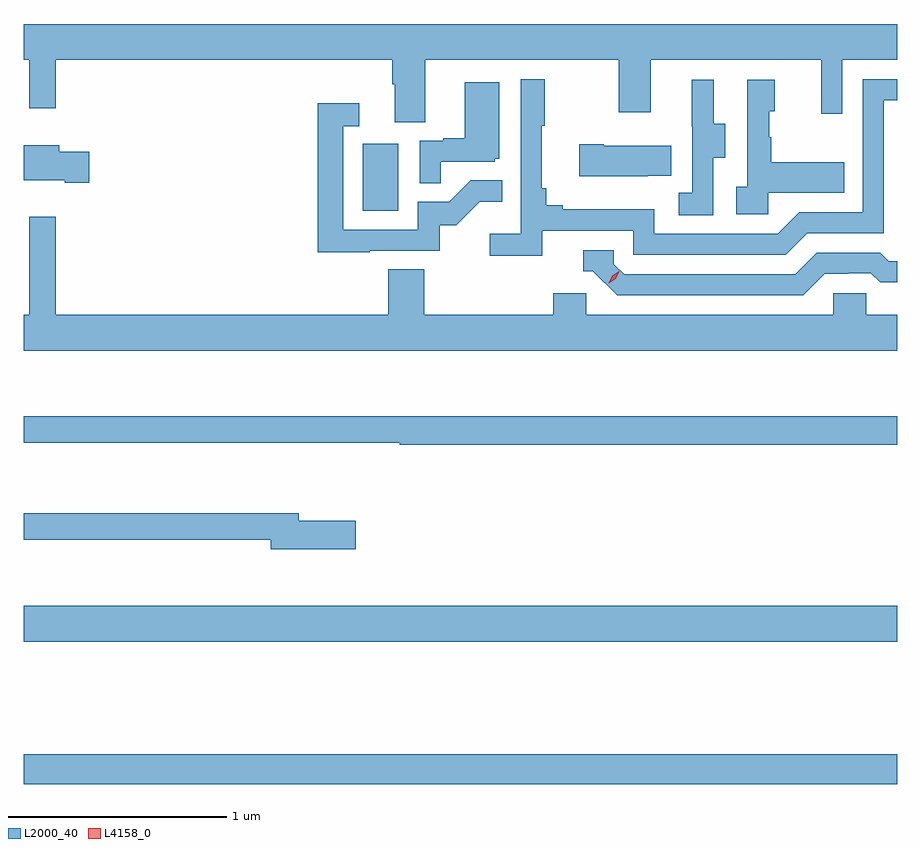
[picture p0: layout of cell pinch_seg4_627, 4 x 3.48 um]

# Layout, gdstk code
import gdstk
lib = gdstk.Library(unit=1e-6, precision=1e-09)
def R(c, l, rs):  # rectangles x0, y0, x1, y1
    for r in rs: c.add(gdstk.rectangle(r[:2], r[2:], *l))
def P(c, l, *ps):  # polygons
    for p in ps: c.add(gdstk.Polygon(p, *l))
L2000_40 = (2000, 40)
L4158_0 = (4158, 0)

pinch_seg4_627 = lib.new_cell('pinch_seg4_627')
R(pinch_seg4_627, L2000_40, [(1033.12,757.54,1037.12,757.676), (1033.12,758.192,1037.12,758.356), (1034.672,760.164,1034.836,760.471)])
P(pinch_seg4_627, L2000_40, [(1034.959,760.856),(1035.844,760.856),(1035.844,760.617),(1035.991,760.617),(1035.991,760.856),(1036.772,760.856),(1036.772,760.608),(1036.869,760.608),(1036.869,760.856),(1037.12,760.856),(1037.12,761.02),(1033.12,761.02),(1033.12,760.856),(1033.145,760.856),(1033.145,760.635),(1033.267,760.635),(1033.267,760.856),(1034.807,760.856),(1034.807,760.744),(1034.819,760.744),(1034.819,760.57),(1034.959,760.57)],
  [(1035.494,760.074),(1035.912,760.074),(1035.912,759.963),(1036.609,759.963),(1036.708,760.062),(1037.058,760.062),(1037.058,760.671),(1037.12,760.671),(1037.12,760.767),(1036.962,760.767),(1036.962,760.158),(1036.671,760.158),(1036.572,760.059),(1036.008,760.059),(1036.008,760.171),(1035.589,760.171),(1035.589,760.19),(1035.512,760.19),(1035.512,760.267),(1035.493,760.267),(1035.493,760.555),(1035.505,760.555),(1035.505,760.768),(1035.396,760.768),(1035.396,760.06),(1035.255,760.06),(1035.255,759.958),(1035.494,759.958)],
  [(1036.278,760.408),(1036.333,760.408),(1036.333,760.563),(1036.279,760.563),(1036.279,760.765),(1036.18,760.765),(1036.18,760.551),(1036.182,760.551),(1036.182,760.247),(1036.119,760.247),(1036.119,760.144),(1036.278,760.144)],
  [(1036.53,760.247),(1036.877,760.247),(1036.877,760.387),(1036.543,760.387),(1036.543,760.502),(1036.533,760.502),(1036.533,760.62),(1036.558,760.62),(1036.558,760.765),(1036.434,760.765),(1036.434,760.274),(1036.382,760.274),(1036.382,760.149),(1036.53,760.149)],
  [(1035.029,760.389),(1035.276,760.389),(1035.276,760.404),(1035.298,760.404),(1035.298,760.753),(1035.14,760.753),(1035.14,760.498),(1035.041,760.498),(1035.041,760.485),(1034.934,760.485),(1034.934,760.291),(1035.029,760.291)],
  [(1034.705,759.981),(1035.024,759.981),(1035.024,760.098),(1035.1,760.098),(1035.207,760.205),(1035.311,760.205),(1035.311,760.304),(1035.167,760.304),(1035.069,760.206),(1034.925,760.206),(1034.925,760.077),(1034.583,760.077),(1034.583,760.551),(1034.656,760.551),(1034.656,760.657),(1034.467,760.657),(1034.467,759.976),(1034.705,759.976)],
  [(1035.977,760.325),(1036.085,760.325),(1036.085,760.462),(1035.775,760.462),(1035.775,760.47),(1035.663,760.47),(1035.663,760.322),(1035.977,760.322)],
  [(1033.42,760.434),(1033.282,760.434),(1033.282,760.465),(1033.12,760.465),(1033.12,760.304),(1033.307,760.304),(1033.307,760.292),(1033.42,760.292)],
  [(1037.12,759.688),(1036.977,759.688),(1036.977,759.786),(1036.827,759.786),(1036.827,759.688),(1035.696,759.688),(1035.696,759.786),(1035.545,759.786),(1035.545,759.688),(1034.954,759.688),(1034.954,759.896),(1034.789,759.896),(1034.789,759.688),(1033.267,759.688),(1033.267,760.138),(1033.145,760.138),(1033.145,759.688),(1033.12,759.688),(1033.12,759.524),(1037.12,759.524)],
  [(1036.789,759.876),(1036.896,759.876),(1036.896,759.879),(1036.999,759.879),(1037.041,759.837),(1037.12,759.837),(1037.12,759.933),(1037.08,759.933),(1037.041,759.972),(1036.752,759.972),(1036.653,759.873),(1035.87,759.873),(1035.822,759.921),(1035.822,759.984),(1035.683,759.984),(1035.683,759.888),(1035.726,759.888),(1035.837,759.777),(1036.69,759.777)],
  [(1037.12,759.223),(1033.12,759.223),(1033.12,759.102),(1034.842,759.102),(1034.842,759.094),(1037.12,759.094)],
  [(1034.641,758.745),(1034.38,758.745),(1034.38,758.779),(1033.12,758.779),(1033.12,758.658),(1034.252,758.658),(1034.252,758.615),(1034.641,758.615)])
P(pinch_seg4_627, L4158_0, [(1035.799,759.834),(1035.799,759.835),(1035.815,759.868),(1035.846,759.887),(1035.846,759.887),(1035.846,759.887),(1035.83,759.854),(1035.799,759.834)])

lib.write_gds('pinch_seg4_627.gds')
